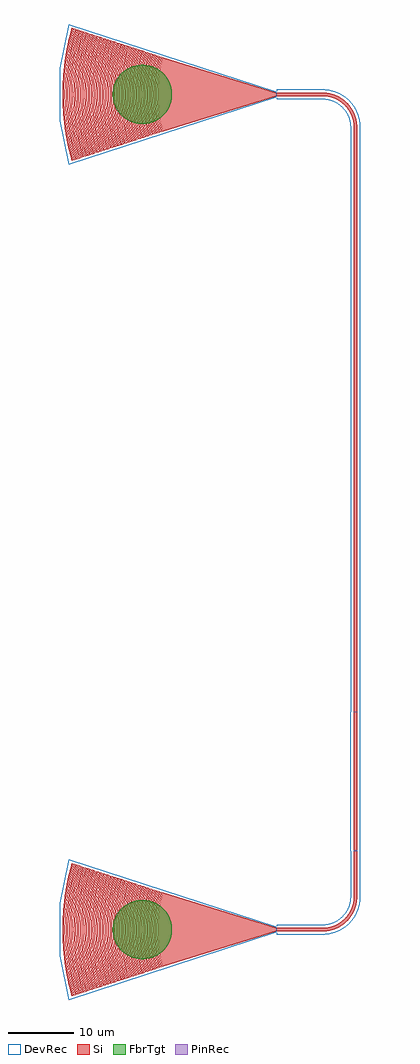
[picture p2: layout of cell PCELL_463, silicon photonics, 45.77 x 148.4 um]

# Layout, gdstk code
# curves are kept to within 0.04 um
from math import pi, radians
import gdstk
lib = gdstk.Library(unit=1e-6, precision=1e-09)
def R(c, l, rs):  # rectangles x0, y0, x1, y1
    for r in rs: c.add(gdstk.rectangle(r[:2], r[2:], *l))
def P(c, l, *ps):  # polygons
    for p in ps: c.add(gdstk.Polygon(p, *l))
Si = (1, 0)
PinRec = (1, 10)
DevRec = (68, 0)
FbrTgt = (81, 0)

te1550_subgc_neg31_oxide = lib.new_cell('TE1550_SubGC_neg31_oxide')
P(te1550_subgc_neg31_oxide, Si, [(-17.556,-5.704),(-17.743,-4.914),(-17.881,-4.233),(-18.016,-3.437),(-18.095,-2.866),(-18.165,-2.237),(-18.222,-1.549),(-18.256,-0.918),(-18.274,-0.115),(-18.264,0.689),(-18.233,1.377),(-18.176,2.122),(-18.095,2.866),(-18.016,3.437),(-17.881,4.233),(-17.743,4.914),(-17.556,5.704),(-17.481,5.68),(-17.643,5.006),(-17.784,4.329),(-17.922,3.536),(-18.032,2.74),(-18.104,2.056),(-18.148,1.486),(-18.186,0.686),(-18.196,0.114),(-18.189,-0.572),(-18.165,-1.2),(-18.123,-1.828),(-18.058,-2.512),(-17.948,-3.365),(-17.826,-4.102),(-17.668,-4.893),(-17.481,-5.68)],
  [(-17.906,-5.818),(-18.207,-4.492),(-18.452,-2.982),(-18.601,-1.405),(-18.643,-0.117),(-18.601,1.405),(-18.452,2.982),(-18.207,4.492),(-17.906,5.818),(-17.659,5.738),(-17.932,4.544),(-18.188,2.998),(-18.338,1.443),(-18.383,0.116),(-18.338,-1.443),(-18.188,-2.998),(-17.932,-4.544),(-17.659,-5.738)],
  [(-18.084,-5.876),(-18.24,-5.237),(-18.4,-4.479),(-18.525,-3.776),(-18.629,-3.071),(-18.717,-2.305),(-18.772,-1.656),(-18.811,-0.946),(-18.83,-0.118),(-18.823,0.592),(-18.791,1.36),(-18.739,2.069),(-18.644,2.953),(-18.544,3.658),(-18.4,4.479),(-18.24,5.237),(-18.084,5.876),(-18.01,5.852),(-18.204,5.041),(-18.368,4.227),(-18.503,3.409),(-18.609,2.589),(-18.713,1.354),(-18.745,0.589),(-18.752,0.118),(-18.745,-0.589),(-18.713,-1.354),(-18.609,-2.589),(-18.503,-3.409),(-18.368,-4.227),(-18.204,-5.041),(-18.01,-5.852)],
  [(-18.435,-5.99),(-18.77,-4.506),(-19.001,-3.071),(-19.135,-1.748),(-19.199,-0.121),(-19.159,1.387),(-19.001,3.071),(-18.77,4.506),(-18.435,5.99),(-18.188,5.91),(-18.517,4.445),(-18.744,3.029),(-18.896,1.427),(-18.939,0.119),(-18.896,-1.427),(-18.759,-2.911),(-18.517,-4.445),(-18.188,-5.91)],
  [(-18.613,-6.048),(-18.815,-5.211),(-18.963,-4.49),(-19.099,-3.705),(-19.201,-2.979),(-19.269,-2.373),(-19.338,-1.522),(-19.369,-0.913),(-19.386,-0.122),(-19.377,0.67),(-19.349,1.339),(-19.286,2.191),(-19.201,2.979),(-19.099,3.705),(-18.963,4.49),(-18.815,5.211),(-18.613,6.048),(-18.539,6.024),(-18.713,5.309),(-18.876,4.532),(-19.013,3.751),(-19.131,2.907),(-19.203,2.242),(-19.264,1.455),(-19.291,0.91),(-19.308,0.121),(-19.299,-0.667),(-19.271,-1.334),(-19.239,-1.819),(-19.166,-2.605),(-19.076,-3.329),(-18.91,-4.352),(-18.753,-5.13),(-18.539,-6.024)],
  [(-18.964,-6.162),(-19.262,-4.881),(-19.533,-3.283),(-19.689,-1.799),(-19.755,-0.124),(-19.717,1.365),(-19.573,2.974),(-19.334,4.513),(-18.964,6.162),(-18.717,6.081),(-19.046,4.636),(-19.301,3.057),(-19.43,1.775),(-19.495,0.122),(-19.454,-1.408),(-19.301,-3.057),(-19.046,-4.636),(-18.717,-6.081)],
  [(-19.142,-6.22),(-19.337,-5.421),(-19.48,-4.742),(-19.625,-3.936),(-19.726,-3.251),(-19.808,-2.566),(-19.884,-1.691),(-19.924,-0.94),(-19.942,-0.125),(-19.934,0.626),(-19.9,1.44),(-19.833,2.316),(-19.758,3.002),(-19.635,3.874),(-19.516,4.556),(-19.337,5.421),(-19.142,6.22),(-19.068,6.195),(-19.289,5.277),(-19.44,4.538),(-19.587,3.673),(-19.696,2.866),(-19.772,2.12),(-19.822,1.435),(-19.853,0.749),(-19.864,0.125),(-19.853,-0.749),(-19.822,-1.435),(-19.772,-2.12),(-19.696,-2.866),(-19.587,-3.673),(-19.44,-4.538),(-19.289,-5.277),(-19.068,-6.195)],
  [(-19.493,-6.334),(-19.839,-4.829),(-20.107,-3.185),(-20.256,-1.658),(-20.311,-0.128),(-20.268,1.467),(-20.107,3.185),(-19.839,4.829),(-19.493,6.334),(-19.246,6.253),(-19.574,4.829),(-19.842,3.207),(-19.997,1.637),(-20.051,0.126),(-20.005,-1.511),(-19.866,-3.019),(-19.622,-4.581),(-19.246,-6.253)],
  [(-19.671,-6.391),(-19.843,-5.697),(-20.008,-4.937),(-20.149,-4.173),(-20.283,-3.278),(-20.379,-2.444),(-20.438,-1.738),(-20.482,-0.901),(-20.498,-0.129),(-20.482,0.901),(-20.438,1.738),(-20.379,2.444),(-20.283,3.278),(-20.149,4.173),(-20.008,4.937),(-19.843,5.697),(-19.671,6.391),(-19.597,6.367),(-19.797,5.55),(-20.005,4.538),(-20.153,3.648),(-20.246,2.946),(-20.325,2.179),(-20.373,1.539),(-20.404,0.898),(-20.42,0.128),(-20.412,-0.641),(-20.384,-1.347),(-20.336,-2.051),(-20.261,-2.819),(-20.153,-3.648),(-20.017,-4.474),(-19.825,-5.424),(-19.597,-6.367)],
  [(-20.022,-6.505),(-20.392,-4.896),(-20.656,-3.272),(-20.81,-1.704),(-20.867,-0.131),(-20.81,1.704),(-20.656,3.272),(-20.392,4.896),(-20.022,6.505),(-19.774,6.425),(-20.139,4.835),(-20.382,3.36),(-20.542,1.812),(-20.607,0.129),(-20.567,-1.424),(-20.399,-3.231),(-20.139,-4.835),(-19.774,-6.425)],
  [(-20.199,-6.563),(-20.437,-5.591),(-20.599,-4.809),(-20.726,-4.089),(-20.832,-3.367),(-20.931,-2.511),(-20.992,-1.785),(-21.04,-0.86),(-21.054,-0.132),(-21.044,0.728),(-21.001,1.653),(-20.931,2.511),(-20.849,3.235),(-20.726,4.089),(-20.599,4.809),(-20.437,5.591),(-20.199,6.563),(-20.125,6.539),(-20.347,5.635),(-20.523,4.791),(-20.67,3.943),(-20.804,2.961),(-20.878,2.239),(-20.923,1.647),(-20.962,0.857),(-20.976,0.132),(-20.966,-0.725),(-20.935,-1.449),(-20.878,-2.239),(-20.804,-2.961),(-20.67,-3.943),(-20.523,-4.791),(-20.347,-5.635),(-20.125,-6.539)],
  [(-20.55,-6.677),(-20.906,-5.158),(-21.205,-3.359),(-21.355,-1.883),(-21.423,-0.135),(-21.373,1.615),(-21.205,3.359),(-20.906,5.158),(-20.55,6.677),(-20.303,6.597),(-20.705,4.833),(-20.957,3.252),(-21.105,1.728),(-21.163,0.133),(-21.105,-1.728),(-20.957,-3.252),(-20.705,-4.833),(-20.303,-6.597)],
  [(-20.728,-6.735),(-20.912,-6.004),(-21.101,-5.136),(-21.249,-4.331),(-21.372,-3.523),(-21.483,-2.577),(-21.546,-1.832),(-21.593,-0.95),(-21.61,-0.136),(-21.593,0.95),(-21.555,1.696),(-21.483,2.577),(-21.39,3.388),(-21.249,4.331),(-21.101,5.136),(-20.912,6.004),(-20.728,6.735),(-20.654,6.711),(-20.868,5.85),(-21.025,5.118),(-21.195,4.181),(-21.33,3.241),(-21.412,2.5),(-21.473,1.758),(-21.515,0.947),(-21.532,0.135),(-21.525,-0.609),(-21.497,-1.352),(-21.448,-2.095),(-21.37,-2.904),(-21.237,-3.913),(-21.077,-4.85),(-20.868,-5.85),(-20.654,-6.711)],
  [(-21.079,-6.849),(-21.432,-5.359),(-21.736,-3.583),(-21.923,-1.725),(-21.979,-0.138),(-21.923,1.725),(-21.772,3.308),(-21.473,5.155),(-21.079,6.849),(-20.832,6.769),(-21.207,5.162),(-21.47,3.608),(-21.664,1.705),(-21.719,0.136),(-21.664,-1.705),(-21.515,-3.269),(-21.207,-5.162),(-20.832,-6.769)],
  [(-21.257,-6.907),(-21.494,-5.953),(-21.655,-5.199),(-21.817,-4.304),(-21.93,-3.544),(-22.042,-2.574),(-22.105,-1.81),(-22.146,-1.044),(-22.166,-0.139),(-22.159,0.627),(-22.114,1.67),(-22.042,2.574),(-21.957,3.336),(-21.817,4.304),(-21.655,5.199),(-21.494,5.953),(-21.257,6.907),(-21.183,6.883),(-21.419,5.932),(-21.606,5.044),(-21.773,4.083),(-21.888,3.256),(-21.971,2.495),(-22.036,1.665),(-22.073,0.902),(-22.088,0.139),(-22.081,-0.624),(-22.052,-1.387),(-22.001,-2.149),(-21.905,-3.117),(-21.773,-4.083),(-21.606,-5.044),(-21.419,-5.932),(-21.183,-6.883)],
  [(-21.608,-7.021),(-21.985,-5.425),(-22.294,-3.603),(-22.482,-1.698),(-22.535,-0.142),(-22.482,1.698),(-22.294,3.603),(-21.985,5.425),(-21.608,7.021),(-21.361,6.941),(-21.761,5.224),(-22.028,3.631),(-22.218,1.749),(-22.275,0.14),(-22.227,-1.609),(-22.073,-3.283),(-21.788,-5.086),(-21.361,-6.941)],
  [(-21.786,-7.079),(-21.964,-6.381),(-22.167,-5.469),(-22.302,-4.765),(-22.469,-3.704),(-22.565,-2.923),(-22.649,-1.997),(-22.704,-0.999),(-22.722,-0.143),(-22.713,0.714),(-22.677,1.57),(-22.601,2.567),(-22.488,3.562),(-22.374,4.341),(-22.195,5.329),(-22.03,6.101),(-21.786,7.079),(-21.712,7.055),(-21.922,6.22),(-22.161,5.1),(-22.308,4.256),(-22.447,3.267),(-22.53,2.487),(-22.586,1.778),(-22.626,0.996),(-22.644,0.142),(-22.635,-0.711),(-22.595,-1.635),(-22.53,-2.487),(-22.447,-3.267),(-22.308,-4.256),(-22.161,-5.1),(-21.922,-6.22),(-21.712,-7.055)],
  [(-22.137,-7.193),(-22.54,-5.486),(-22.843,-3.692),(-23.011,-2.102),(-23.091,-0.145),(-23.045,1.595),(-22.862,3.547),(-22.54,5.486),(-22.137,7.193),(-21.89,7.112),(-22.287,5.425),(-22.596,3.579),(-22.777,1.721),(-22.831,0.143),(-22.777,-1.721),(-22.596,-3.579),(-22.287,-5.425),(-21.89,-7.112)],
  [(-22.315,-7.25),(-22.549,-6.321),(-22.736,-5.458),(-22.895,-4.592),(-23.047,-3.576),(-23.139,-2.776),(-23.218,-1.827),(-23.262,-0.951),(-23.278,-0.146),(-23.262,0.951),(-23.218,1.827),(-23.139,2.776),(-23.047,3.576),(-22.895,4.592),(-22.736,5.458),(-22.549,6.321),(-22.315,7.25),(-22.24,7.226),(-22.457,6.372),(-22.646,5.512),(-22.843,4.432),(-22.979,3.492),(-23.076,2.621),(-23.145,1.748),(-23.184,0.947),(-23.2,0.146),(-23.194,-0.583),(-23.158,-1.53),(-23.102,-2.33),(-23.006,-3.274),(-22.899,-4.071),(-22.73,-5.081),(-22.507,-6.157),(-22.24,-7.226)],
  [(-22.666,-7.364),(-23.095,-5.545),(-23.392,-3.78),(-23.581,-1.93),(-23.647,-0.149),(-23.586,1.856),(-23.421,3.559),(-23.095,5.545),(-22.666,7.364),(-22.418,7.284),(-22.842,5.484),(-23.145,3.666),(-23.311,2.056),(-23.387,0.147),(-23.336,-1.689),(-23.145,-3.666),(-22.842,-5.484),(-22.418,-7.284)],
  [(-22.843,-7.422),(-23.067,-6.545),(-23.262,-5.662),(-23.441,-4.701),(-23.556,-3.959),(-23.691,-2.842),(-23.762,-2.02),(-23.815,-1.048),(-23.834,-0.15),(-23.82,0.898),(-23.782,1.721),(-23.713,2.618),(-23.606,3.587),(-23.441,4.701),(-23.277,5.588),(-23.067,6.545),(-22.843,7.422),(-22.769,7.398),(-22.992,6.523),(-23.201,5.57),(-23.389,4.538),(-23.538,3.501),(-23.642,2.535),(-23.704,1.716),(-23.742,0.895),(-23.756,0.149),(-23.742,-0.895),(-23.704,-1.716),(-23.642,-2.535),(-23.565,-3.278),(-23.401,-4.464),(-23.23,-5.423),(-22.992,-6.523),(-22.769,-7.398)],
  [(-23.194,-7.536),(-23.605,-5.824),(-23.951,-3.793),(-24.135,-1.976),(-24.203,-0.152),(-24.15,1.748),(-23.961,3.718),(-23.605,5.824),(-23.194,7.536),(-22.947,7.456),(-23.368,5.688),(-23.684,3.827),(-23.876,1.955),(-23.943,0.15),(-23.886,-1.804),(-23.704,-3.678),(-23.383,-5.614),(-22.947,-7.456)],
  [(-23.372,-7.594),(-23.602,-6.696),(-23.802,-5.793),(-23.96,-4.962),(-24.115,-3.975),(-24.219,-3.137),(-24.316,-2.067),(-24.373,-0.996),(-24.39,-0.153),(-24.373,0.996),(-24.316,2.067),(-24.219,3.137),(-24.115,3.975),(-23.96,4.962),(-23.802,5.793),(-23.602,6.696),(-23.372,7.594),(-23.298,7.57),(-23.562,6.525),(-23.801,5.399),(-23.971,4.417),(-24.088,3.583),(-24.188,2.67),(-24.249,1.908),(-24.295,0.993),(-24.312,0.153),(-24.3,-0.84),(-24.263,-1.68),(-24.195,-2.594),(-24.088,-3.583),(-23.971,-4.417),(-23.801,-5.399),(-23.562,-6.525),(-23.298,-7.57)],
  [(-23.723,-7.708),(-24.145,-5.957),(-24.479,-4.035),(-24.678,-2.176),(-24.759,-0.156),(-24.709,1.71),(-24.5,3.88),(-24.145,5.957),(-23.723,7.708),(-23.476,7.628),(-23.908,5.819),(-24.233,3.916),(-24.43,2),(-24.499,0.154),(-24.43,-2),(-24.233,-3.916),(-23.908,-5.819),(-23.476,-7.628)],
  [(-23.901,-7.766),(-24.137,-6.848),(-24.358,-5.848),(-24.518,-4.997),(-24.674,-3.987),(-24.779,-3.13),(-24.87,-2.115),(-24.916,-1.332),(-24.946,-0.157),(-24.931,0.94),(-24.891,1.802),(-24.803,2.896),(-24.695,3.832),(-24.531,4.92),(-24.358,5.848),(-24.137,6.848),(-23.901,7.766),(-23.827,7.742),(-24.098,6.674),(-24.313,5.676),(-24.493,4.672),(-24.638,3.665),(-24.733,2.809),(-24.803,1.952),(-24.848,1.094),(-24.868,0.156),(-24.858,-0.781),(-24.818,-1.718),(-24.733,-2.809),(-24.638,-3.665),(-24.493,-4.672),(-24.313,-5.676),(-24.098,-6.674),(-23.827,-7.742)],
  [(-24.252,-7.88),(-24.717,-5.934),(-25.049,-3.967),(-25.232,-2.225),(-25.315,-0.159),(-25.259,1.828),(-25.07,3.809),(-24.717,5.934),(-24.252,7.88),(-24.005,7.8),(-24.464,5.873),(-24.782,4.005),(-24.973,2.202),(-25.055,0.157),(-25.009,-1.652),(-24.803,-3.848),(-24.464,-5.873),(-24.005,-7.8)],
  [(-24.43,-7.938),(-24.709,-6.843),(-24.866,-6.135),(-25.049,-5.187),(-25.234,-3.997),(-25.339,-3.12),(-25.424,-2.162),(-25.478,-1.202),(-25.502,-0.16),(-25.489,0.881),(-25.435,2.002),(-25.339,3.12),(-25.234,3.997),(-25.049,5.187),(-24.866,6.135),(-24.709,6.843),(-24.43,7.938),(-24.356,7.914),(-24.634,6.822),(-24.839,5.881),(-25,5.014),(-25.178,3.826),(-25.278,2.952),(-25.352,2.075),(-25.397,1.278),(-25.424,0.16),(-25.409,-0.958),(-25.377,-1.677),(-25.293,-2.792),(-25.198,-3.667),(-25.052,-4.697),(-24.839,-5.881),(-24.634,-6.822),(-24.356,-7.914)],
  [(-24.781,-8.052),(-25.241,-6.144),(-25.576,-4.216),(-25.803,-2.031),(-25.871,-0.163),(-25.803,2.031),(-25.609,3.974),(-25.274,5.984),(-24.781,8.052),(-24.533,7.971),(-24.972,6.161),(-25.308,4.253),(-25.544,2.01),(-25.611,0.161),(-25.544,-2.01),(-25.352,-3.934),(-25.021,-5.924),(-24.533,-7.971)],
  [(-24.959,-8.11),(-25.187,-7.232),(-25.423,-6.188),(-25.635,-5.057),(-25.772,-4.165),(-25.891,-3.188),(-25.984,-2.127),(-26.03,-1.31),(-26.058,-0.164),(-26.045,0.9),(-25.995,1.964),(-25.891,3.188),(-25.794,4.002),(-25.635,5.057),(-25.423,6.188),(-25.187,7.232),(-24.959,8.11),(-24.884,8.085),(-25.15,7.051),(-25.38,6.009),(-25.572,4.961),(-25.738,3.828),(-25.846,2.853),(-25.917,1.958),(-25.967,0.898),(-25.98,0.163),(-25.967,-0.898),(-25.932,-1.713),(-25.868,-2.609),(-25.768,-3.585),(-25.624,-4.638),(-25.412,-5.848),(-25.207,-6.811),(-24.884,-8.085)],
  [(-25.31,-8.224),(-25.815,-6.112),(-26.136,-4.224),(-26.357,-2.074),(-26.427,-0.166),(-26.368,1.909),(-26.18,3.894),(-25.815,6.112),(-25.31,8.224),(-25.062,8.143),(-25.512,6.295),(-25.868,4.264),(-26.098,2.054),(-26.167,0.164),(-26.123,-1.644),(-25.923,-3.856),(-25.562,-6.052),(-25.062,-8.143)],
  [(-25.487,-8.281),(-25.761,-7.222),(-25.946,-6.402),(-26.152,-5.33),(-26.321,-4.254),(-26.451,-3.173),(-26.532,-2.256),(-26.589,-1.254),(-26.614,-0.167),(-26.598,1.003),(-26.538,2.172),(-26.451,3.173),(-26.321,4.254),(-26.152,5.33),(-25.946,6.402),(-25.761,7.222),(-25.487,8.281),(-25.413,8.257),(-25.686,7.201),(-25.921,6.137),(-26.118,5.067),(-26.288,3.91),(-26.374,3.164),(-26.466,2.083),(-26.511,1.25),(-26.536,0.167),(-26.525,-0.834),(-26.482,-1.833),(-26.406,-2.831),(-26.288,-3.91),(-26.118,-5.067),(-25.921,-6.137),(-25.686,-7.201),(-25.413,-8.257)],
  [(-25.838,-8.395),(-26.339,-6.323),(-26.685,-4.312),(-26.887,-2.456),(-26.983,-0.17),(-26.917,2.033),(-26.708,4.144),(-26.356,6.24),(-25.838,8.395),(-25.591,8.315),(-26.086,6.263),(-26.44,4.188),(-26.658,2.014),(-26.723,0.168),(-26.658,-2.014),(-26.44,-4.188),(-26.086,-6.263),(-25.591,-8.315)],
  [(-26.016,-8.453),(-26.256,-7.539),(-26.503,-6.451),(-26.697,-5.441),(-26.858,-4.427),(-26.976,-3.494),(-27.086,-2.303),(-27.144,-1.28),(-27.17,-0.085),(-27.156,0.939),(-27.098,2.133),(-27.012,3.154),(-26.893,4.173),(-26.726,5.272),(-26.538,6.283),(-26.256,7.539),(-26.016,8.453),(-25.942,8.429),(-26.261,7.184),(-26.479,6.181),(-26.664,5.173),(-26.838,3.992),(-26.943,3.06),(-27.026,2.042),(-27.078,0.936),(-27.092,0.085),(-27.078,-0.936),(-27.026,-2.042),(-26.943,-3.06),(-26.838,-3.992),(-26.664,-5.173),(-26.479,-6.181),(-26.261,-7.184),(-25.942,-8.429)],
  [(-26.367,-8.567),(-26.897,-6.368),(-27.246,-4.315),(-27.466,-2.162),(-27.539,-0.087),(-27.466,2.162),(-27.246,4.315),(-26.897,6.368),(-26.367,8.567),(-26.12,8.487),(-26.644,6.308),(-26.989,4.275),(-27.218,1.97),(-27.279,0.086),(-27.218,-1.97),(-26.989,-4.275),(-26.644,-6.308),(-26.12,-8.487)],
  [(-26.545,-8.625),(-26.832,-7.522),(-27.079,-6.411),(-27.286,-5.294),(-27.442,-4.258),(-27.573,-3.132),(-27.658,-2.089),(-27.712,-0.958),(-27.726,-0.087),(-27.712,0.958),(-27.658,2.089),(-27.573,3.132),(-27.442,4.258),(-27.286,5.294),(-27.079,6.411),(-26.832,7.522),(-26.545,8.625),(-26.471,8.601),(-26.777,7.416),(-27.003,6.393),(-27.195,5.365),(-27.365,4.246),(-27.487,3.209),(-27.586,1.997),(-27.634,0.955),(-27.648,0.087),(-27.634,-0.955),(-27.586,-1.997),(-27.52,-2.863),(-27.42,-3.815),(-27.265,-4.935),(-27.071,-6.051),(-26.817,-7.246),(-26.63,-8.01),(-26.471,-8.601)],
  [(-26.896,-8.739),(-27.402,-6.67),(-27.783,-4.49),(-28.014,-2.293),(-28.095,-0.088),(-28.026,2.117),(-27.807,4.315),(-27.438,6.496),(-26.896,8.739),(-26.649,8.659),(-27.185,6.436),(-27.55,4.275),(-27.761,2.185),(-27.835,0.087),(-27.761,-2.185),(-27.55,-4.275),(-27.185,-6.436),(-26.649,-8.659)],
  [(-27.074,-8.797),(-27.346,-7.759),(-27.602,-6.627),(-27.802,-5.576),(-27.955,-4.608),(-28.098,-3.46),(-28.194,-2.397),(-28.255,-1.332),(-28.282,-0.089),(-28.265,1.066),(-28.218,2.042),(-28.134,3.106),(-28.015,4.167),(-27.832,5.4),(-27.62,6.539),(-27.346,7.759),(-27.074,8.797),(-27,8.773),(-27.292,7.651),(-27.544,6.521),(-27.77,5.297),(-27.949,4.067),(-28.048,3.186),(-28.129,2.214),(-28.184,1.152),(-28.204,0.089),(-28.187,-1.063),(-28.146,-1.948),(-28.073,-2.921),(-27.949,-4.067),(-27.77,-5.297),(-27.544,-6.521),(-27.292,-7.651),(-27,-8.773)],
  [(-27.425,-8.911),(-27.979,-6.624),(-28.344,-4.489),(-28.568,-2.339),(-28.651,-0.09),(-28.568,2.339),(-28.344,4.489),(-27.979,6.624),(-27.425,8.911),(-27.177,8.83),(-27.708,6.652),(-28.075,4.537),(-28.309,2.317),(-28.391,0.089),(-28.309,-2.317),(-28.075,-4.537),(-27.708,-6.652),(-27.177,-8.83)],
  [(-27.603,-8.969),(-27.881,-7.91),(-28.124,-6.845),(-28.347,-5.685),(-28.529,-4.518),(-28.678,-3.257),(-28.761,-2.264),(-28.814,-1.268),(-28.838,-0.091),(-28.826,0.906),(-28.761,2.264),(-28.678,3.257),(-28.529,4.518),(-28.347,5.685),(-28.124,6.845),(-27.881,7.91),(-27.603,8.969),(-27.528,8.944),(-27.806,7.889),(-28.085,6.649),(-28.316,5.402),(-28.476,4.327),(-28.582,3.428),(-28.677,2.348),(-28.736,1.265),(-28.76,0.09),(-28.748,-0.903),(-28.695,-2.077),(-28.609,-3.158),(-28.499,-4.147),(-28.331,-5.312),(-28.121,-6.472),(-27.87,-7.624),(-27.528,-8.944)],
  [(-27.953,-9.083),(-28.52,-6.752),(-28.893,-4.576),(-29.135,-2.201),(-29.207,-0.092),(-29.135,2.201),(-28.918,4.394),(-28.52,6.752),(-27.953,9.083),(-27.706,9.002),(-28.23,6.871),(-28.624,4.626),(-28.863,2.363),(-28.947,0.091),(-28.887,-2),(-28.649,-4.445),(-28.23,-6.871),(-27.706,-9.002)],
  [(-28.131,-9.14),(-28.416,-8.062),(-28.645,-7.068),(-28.86,-5.977),(-29.078,-4.605),(-29.221,-3.412),(-29.315,-2.307),(-29.373,-1.2),(-29.394,-0.092),(-29.373,1.2),(-29.315,2.307),(-29.221,3.412),(-29.078,4.605),(-28.86,5.977),(-28.645,7.068),(-28.416,8.062),(-28.131,9.14),(-28.057,9.116),(-28.363,7.951),(-28.663,6.596),(-28.892,5.323),(-29.061,4.136),(-29.179,3.036),(-29.255,2.025),(-29.301,1.013),(-29.316,0.092),(-29.301,-1.013),(-29.255,-2.025),(-29.179,-3.036),(-29.061,-4.136),(-28.892,-5.323),(-28.663,-6.596),(-28.363,-7.951),(-28.057,-9.116)],
  [(-28.482,-9.254),(-29.003,-7.156),(-29.416,-4.849),(-29.683,-2.336),(-29.763,-0.094),(-29.683,2.336),(-29.455,4.57),(-29.042,6.972),(-28.482,9.254),(-28.235,9.174),(-28.77,7.003),(-29.173,4.714),(-29.424,2.316),(-29.503,0.093),(-29.424,-2.316),(-29.173,-4.714),(-28.77,-7.003),(-28.235,-9.174)],
  [(-28.66,-9.312),(-28.928,-8.306),(-29.224,-7.016),(-29.421,-5.996),(-29.601,-4.879),(-29.733,-3.851),(-29.863,-2.445),(-29.925,-1.317),(-29.95,-0.094),(-29.937,0.941),(-29.882,2.163),(-29.792,3.289),(-29.64,4.599),(-29.437,5.904),(-29.224,7.016),(-28.928,8.306),(-28.66,9.312),(-28.586,9.288),(-28.898,8.101),(-29.148,6.998),(-29.393,5.703),(-29.563,4.587),(-29.696,3.467),(-29.798,2.251),(-29.847,1.314),(-29.872,0.094),(-29.862,-0.845),(-29.798,-2.251),(-29.696,-3.467),(-29.563,-4.587),(-29.393,-5.703),(-29.148,-6.998),(-28.898,-8.101),(-28.586,-9.288)],
  [(-29.011,-9.426),(-29.563,-7.196),(-29.965,-4.939),(-30.237,-2.38),(-30.319,-0.095),(-30.25,2.19),(-30.017,4.561),(-29.602,7.008),(-29.011,9.426),(-28.764,9.346),(-29.33,7.041),(-29.735,4.709),(-29.978,2.359),(-30.059,0.094),(-29.978,-2.359),(-29.735,-4.709),(-29.33,-7.041),(-28.764,-9.346)],
  [(-29.189,-9.484),(-29.554,-8.085),(-29.784,-7.052),(-29.999,-5.918),(-30.163,-4.874),(-30.295,-3.827),(-30.417,-2.49),(-30.484,-1.246),(-30.506,-0.096),(-30.484,1.246),(-30.417,2.49),(-30.295,3.827),(-30.163,4.874),(-29.999,5.918),(-29.784,7.052),(-29.554,8.085),(-29.189,9.484),(-29.115,9.46),(-29.456,8.158),(-29.708,7.034),(-29.97,5.62),(-30.125,4.577),(-30.248,3.532),(-30.346,2.388),(-30.406,1.242),(-30.428,0.096),(-30.406,-1.242),(-30.346,-2.388),(-30.248,-3.532),(-30.125,-4.577),(-29.97,-5.62),(-29.708,-7.034),(-29.456,-8.158),(-29.115,-9.46)],
  [(-29.54,-9.598),(-30.143,-7.137),(-30.554,-4.741),(-30.798,-2.327),(-30.875,-0.097),(-30.798,2.327),(-30.554,4.741),(-30.143,7.137),(-29.54,9.598),(-29.293,9.518),(-29.89,7.077),(-30.284,4.796),(-30.539,2.307),(-30.615,0.096),(-30.539,-2.307),(-30.284,-4.796),(-29.89,-7.077),(-29.293,-9.518)],
  [(-29.718,-9.656),(-29.997,-8.613),(-30.285,-7.371),(-30.493,-6.315),(-30.712,-4.963),(-30.857,-3.8),(-30.964,-2.633),(-31.036,-1.366),(-31.062,-0.098),(-31.046,1.073),(-30.991,2.243),(-30.897,3.411),(-30.752,4.673),(-30.561,5.929),(-30.345,7.084),(-30.044,8.422),(-29.718,9.656),(-29.643,9.632),(-29.969,8.401),(-30.269,7.066),(-30.501,5.818),(-30.7,4.468),(-30.829,3.306),(-30.907,2.335),(-30.965,1.168),(-30.984,0.097),(-30.965,-1.168),(-30.907,-2.335),(-30.829,-3.306),(-30.7,-4.468),(-30.501,-5.818),(-30.269,-7.066),(-29.969,-8.401),(-29.643,-9.632)],
  [(-30.069,-9.77),(-30.664,-7.362),(-31.09,-4.924),(-31.346,-2.467),(-31.431,-0.099),(-31.346,2.467),(-31.09,4.924),(-30.664,7.362),(-30.069,9.77),(-29.821,9.69),(-30.411,7.301),(-30.833,4.883),(-31.093,2.349),(-31.171,0.098),(-31.093,-2.349),(-30.833,-4.883),(-30.411,-7.301),(-29.821,-9.69)],
  [(-30.246,-9.828),(-30.603,-8.475),(-30.866,-7.308),(-31.107,-6.035),(-31.288,-4.855),(-31.43,-3.67),(-31.539,-2.382),(-31.595,-1.291),(-31.618,-0.099),(-31.595,1.291),(-31.539,2.382),(-31.43,3.67),(-31.288,4.855),(-31.107,6.035),(-30.866,7.308),(-30.603,8.475),(-30.246,9.828),(-30.172,9.804),(-30.528,8.455),(-30.77,7.387),(-30.907,6.705),(-31.047,5.922),(-31.211,4.843),(-31.342,3.759),(-31.461,2.377),(-31.517,1.288),(-31.54,0.099),(-31.529,-0.892),(-31.474,-2.179),(-31.391,-3.266),(-31.25,-4.548),(-31.047,-5.922),(-30.83,-7.095),(-30.528,-8.455),(-30.172,-9.804)],
  [(-30.597,-9.942),(-31.225,-7.393),(-31.625,-5.111),(-31.893,-2.611),(-31.987,-0.1),(-31.907,2.41),(-31.653,4.911),(-31.225,7.393),(-30.597,9.942),(-30.35,9.861),(-30.931,7.529),(-31.396,4.872),(-31.641,2.49),(-31.727,0.1),(-31.641,-2.49),(-31.396,-4.872),(-30.931,-7.529),(-30.35,-9.861)],
  [(-30.775,-9.999),(-31.09,-8.821),(-31.344,-7.734),(-31.564,-6.64),(-31.795,-5.241),(-31.95,-4.036),(-32.072,-2.727),(-32.129,-1.819),(-32.154,-1.213),(-32.174,-0.101),(-32.154,1.213),(-32.1,2.323),(-32.012,3.432),(-31.851,4.84),(-31.686,5.941),(-31.428,7.337),(-31.139,8.624),(-30.775,9.999),(-30.701,9.975),(-31.015,8.8),(-31.18,8.11),(-31.352,7.319),(-31.593,6.027),(-31.774,4.828),(-31.915,3.625),(-32.009,2.519),(-32.069,1.411),(-32.096,0.101),(-32.076,-1.21),(-32.009,-2.519),(-31.915,-3.625),(-31.774,-4.828),(-31.593,-6.027),(-31.352,-7.319),(-31.18,-8.11),(-31.015,-8.8),(-30.701,-9.975)],
  [(-31.126,-10.114),(-31.724,-7.722),(-32.174,-5.199),(-32.447,-2.656),(-32.543,-0.102),(-32.519,1.329),(-32.447,2.656),(-32.174,5.199),(-31.724,7.722),(-31.126,10.114),(-30.879,10.033),(-31.471,7.66),(-31.917,5.158),(-32.188,2.635),(-32.283,0.101),(-32.202,-2.433),(-31.959,-4.856),(-31.534,-7.361),(-31.244,-8.653),(-30.879,-10.033)],
  [(-17.378,-5.646),(-17.678,-4.303),(-17.903,-2.893),(-18.043,-1.42),(-18.087,-0.114),(-18.05,1.306),(-17.924,2.724),(-17.678,4.303),(-17.378,5.646),(0,0.25),(0,-0.25)])
te1550_subgc_neg31_oxide.add(gdstk.Label('Ref: Yun Wang, Optics Express, 08/2014', (-33,0), layer=10, texttype=0))
te1550_subgc_neg31_oxide.add(gdstk.Label('http://dx.doi.org/10.1364/OE.22.020652', (-33,-2), layer=10, texttype=0))
te1550_subgc_neg31_oxide.add(gdstk.Label('TE 1550 -31 deg', (-33,2), layer=10, texttype=0))

ebeam_gc_te1550 = lib.new_cell('ebeam_gc_te1550')
R(ebeam_gc_te1550, Si, [(-0.001,-0.001,0.001,0.001)])
P(ebeam_gc_te1550, DevRec, [(-31.6,-10.7),(-33,-4),(-33,4),(-31.6,10.7),(0,0.4),(0,-0.4)])
P(ebeam_gc_te1550, FbrTgt, [(-20.621,-4.5),(-21.495,-4.37),(-22.326,-4.073),(-23.084,-3.619),(-23.738,-3.026),(-24.264,-2.316),(-24.642,-1.518),(-24.857,-0.661),(-24.9,0.221),(-24.77,1.095),(-24.473,1.926),(-24.019,2.684),(-23.426,3.338),(-22.716,3.864),(-21.918,4.242),(-21.061,4.457),(-20.179,4.5),(-19.305,4.37),(-18.474,4.073),(-17.716,3.619),(-17.062,3.026),(-16.536,2.316),(-16.158,1.518),(-15.943,0.661),(-15.9,-0.221),(-16.03,-1.095),(-16.327,-1.926),(-16.781,-2.684),(-17.374,-3.338),(-18.084,-3.864),(-18.882,-4.242),(-19.739,-4.457)])
ebeam_gc_te1550.add(gdstk.FlexPath([(-0.05,0),(0.05,0)], 0.5, ends="flush", simple_path=True, layer=1, datatype=10))  # PinRec
ebeam_gc_te1550.add(gdstk.Reference(te1550_subgc_neg31_oxide, (0,0)))
ebeam_gc_te1550.add(gdstk.Label('Component=ebeam_gc_te1550', (-28,-5), layer=68, texttype=0))
ebeam_gc_te1550.add(gdstk.Label('Lumerical_INTERCONNECT_library=Design kits/ebeam', (-29,-7), layer=68, texttype=0))
ebeam_gc_te1550.add(gdstk.Label('opt1', (0,0), layer=1, texttype=10))
ebeam_gc_te1550.add(gdstk.Label('fib1', (-20.4,0), layer=1, texttype=10))

grat_1_318 = lib.new_cell('grat_1_318')
P(grat_1_318, Si, [(1.159,-0.265),(1.159,-0.235),(1,-0.235),(1,-0.25),(0,-0.25),(0,0),(0,0.25),(1,0.25),(1,0.235),(1.159,0.235),(1.159,0.265),(1.318,0.265),(1.318,0.235),(1.477,0.235),(1.477,0.265),(1.636,0.265),(1.636,0.235),(1.795,0.235),(1.795,0.265),(1.954,0.265),(1.954,0.235),(2.113,0.235),(2.113,0.265),(2.272,0.265),(2.272,0.235),(2.431,0.235),(2.431,0.265),(2.59,0.265),(2.59,0.235),(2.749,0.235),(2.749,0.265),(2.908,0.265),(2.908,0.235),(3.067,0.235),(3.067,0.265),(3.226,0.265),(3.226,0.235),(3.385,0.235),(3.385,0.265),(3.544,0.265),(3.544,0.235),(3.703,0.235),(3.703,0.265),(3.862,0.265),(3.862,0.235),(4.021,0.235),(4.021,0.265),(4.18,0.265),(4.18,0.235),(4.339,0.235),(4.339,0.265),(4.498,0.265),(4.498,0.235),(4.657,0.235),(4.657,0.265),(4.816,0.265),(4.816,0.235),(4.975,0.235),(4.975,0.265),(5.134,0.265),(5.134,0.235),(5.293,0.235),(5.293,0.265),(5.452,0.265),(5.452,0.235),(5.611,0.235),(5.611,0.265),(5.77,0.265),(5.77,0.235),(5.929,0.235),(5.929,0.265),(6.088,0.265),(6.088,0.235),(6.247,0.235),(6.247,0.265),(6.406,0.265),(6.406,0.235),(6.565,0.235),(6.565,0.265),(6.724,0.265),(6.724,0.235),(6.883,0.235),(6.883,0.265),(7.042,0.265),(7.042,0.235),(7.201,0.235),(7.201,0.265),(7.36,0.265),(7.36,0.235),(7.519,0.235),(7.519,0.265),(7.678,0.265),(7.678,0.235),(7.837,0.235),(7.837,0.265),(7.996,0.265),(7.996,0.235),(8.155,0.235),(8.155,0.265),(8.314,0.265),(8.314,0.235),(8.473,0.235),(8.473,0.265),(8.632,0.265),(8.632,0.235),(8.791,0.235),(8.791,0.265),(8.95,0.265),(8.95,0.235),(9.109,0.235),(9.109,0.265),(9.268,0.265),(9.268,0.235),(9.427,0.235),(9.427,0.265),(9.586,0.265),(9.586,0.235),(9.745,0.235),(9.745,0.265),(9.904,0.265),(9.904,0.235),(10.063,0.235),(10.063,0.265),(10.222,0.265),(10.222,0.235),(10.381,0.235),(10.381,0.265),(10.54,0.265),(10.54,0.235),(10.699,0.235),(10.699,0.265),(10.858,0.265),(10.858,0.235),(11.017,0.235),(11.017,0.265),(11.176,0.265),(11.176,0.235),(11.335,0.235),(11.335,0.265),(11.494,0.265),(11.494,0.235),(11.653,0.235),(11.653,0.265),(11.812,0.265),(11.812,0.235),(11.971,0.235),(11.971,0.265),(12.13,0.265),(12.13,0.235),(12.289,0.235),(12.289,0.265),(12.448,0.265),(12.448,0.235),(12.607,0.235),(12.607,0.265),(12.766,0.265),(12.766,0.235),(12.925,0.235),(12.925,0.265),(13.084,0.265),(13.084,0.235),(13.243,0.235),(13.243,0.265),(13.402,0.265),(13.402,0.235),(13.561,0.235),(13.561,0.265),(13.72,0.265),(13.72,0.235),(13.879,0.235),(13.879,0.265),(14.038,0.265),(14.038,0.235),(14.197,0.235),(14.197,0.265),(14.356,0.265),(14.356,0.235),(14.515,0.235),(14.515,0.265),(14.674,0.265),(14.674,0.235),(14.833,0.235),(14.833,0.265),(14.992,0.265),(14.992,0.235),(15.151,0.235),(15.151,0.265),(15.31,0.265),(15.31,0.235),(15.469,0.235),(15.469,0.265),(15.628,0.265),(15.628,0.235),(15.787,0.235),(15.787,0.265),(15.946,0.265),(15.946,0.235),(16.105,0.235),(16.105,0.265),(16.264,0.265),(16.264,0.235),(16.423,0.235),(16.423,0.265),(16.582,0.265),(16.582,0.235),(16.741,0.235),(16.741,0.265),(16.9,0.265),(16.9,0.235),(17.059,0.235),(17.059,0.265),(17.218,0.265),(17.218,0.235),(17.377,0.235),(17.377,0.265),(17.536,0.265),(17.536,0.235),(17.695,0.235),(17.695,0.265),(17.854,0.265),(17.854,0.235),(18.013,0.235),(18.013,0.265),(18.172,0.265),(18.172,0.235),(18.331,0.235),(18.331,0.265),(18.49,0.265),(18.49,0.235),(18.649,0.235),(18.649,0.265),(18.808,0.265),(18.808,0.235),(18.967,0.235),(18.967,0.265),(19.126,0.265),(19.126,0.235),(19.285,0.235),(19.285,0.265),(19.444,0.265),(19.444,0.235),(19.603,0.235),(19.603,0.265),(19.762,0.265),(19.762,0.235),(19.921,0.235),(19.921,0.265),(20.08,0.265),(20.08,0.25),(21.08,0.25),(21.08,0),(21.08,-0.25),(20.08,-0.25),(20.08,-0.265),(19.921,-0.265),(19.921,-0.235),(19.762,-0.235),(19.762,-0.265),(19.603,-0.265),(19.603,-0.235),(19.444,-0.235),(19.444,-0.265),(19.285,-0.265),(19.285,-0.235),(19.126,-0.235),(19.126,-0.265),(18.967,-0.265),(18.967,-0.235),(18.808,-0.235),(18.808,-0.265),(18.649,-0.265),(18.649,-0.235),(18.49,-0.235),(18.49,-0.265),(18.331,-0.265),(18.331,-0.235),(18.172,-0.235),(18.172,-0.265),(18.013,-0.265),(18.013,-0.235),(17.854,-0.235),(17.854,-0.265),(17.695,-0.265),(17.695,-0.235),(17.536,-0.235),(17.536,-0.265),(17.377,-0.265),(17.377,-0.235),(17.218,-0.235),(17.218,-0.265),(17.059,-0.265),(17.059,-0.235),(16.9,-0.235),(16.9,-0.265),(16.741,-0.265),(16.741,-0.235),(16.582,-0.235),(16.582,-0.265),(16.423,-0.265),(16.423,-0.235),(16.264,-0.235),(16.264,-0.265),(16.105,-0.265),(16.105,-0.235),(15.946,-0.235),(15.946,-0.265),(15.787,-0.265),(15.787,-0.235),(15.628,-0.235),(15.628,-0.265),(15.469,-0.265),(15.469,-0.235),(15.31,-0.235),(15.31,-0.265),(15.151,-0.265),(15.151,-0.235),(14.992,-0.235),(14.992,-0.265),(14.833,-0.265),(14.833,-0.235),(14.674,-0.235),(14.674,-0.265),(14.515,-0.265),(14.515,-0.235),(14.356,-0.235),(14.356,-0.265),(14.197,-0.265),(14.197,-0.235),(14.038,-0.235),(14.038,-0.265),(13.879,-0.265),(13.879,-0.235),(13.72,-0.235),(13.72,-0.265),(13.561,-0.265),(13.561,-0.235),(13.402,-0.235),(13.402,-0.265),(13.243,-0.265),(13.243,-0.235),(13.084,-0.235),(13.084,-0.265),(12.925,-0.265),(12.925,-0.235),(12.766,-0.235),(12.766,-0.265),(12.607,-0.265),(12.607,-0.235),(12.448,-0.235),(12.448,-0.265),(12.289,-0.265),(12.289,-0.235),(12.13,-0.235),(12.13,-0.265),(11.971,-0.265),(11.971,-0.235),(11.812,-0.235),(11.812,-0.265),(11.653,-0.265),(11.653,-0.235),(11.494,-0.235),(11.494,-0.265),(11.335,-0.265),(11.335,-0.235),(11.176,-0.235),(11.176,-0.265),(11.017,-0.265),(11.017,-0.235),(10.858,-0.235),(10.858,-0.265),(10.699,-0.265),(10.699,-0.235),(10.54,-0.235),(10.54,-0.265),(10.381,-0.265),(10.381,-0.235),(10.222,-0.235),(10.222,-0.265),(10.063,-0.265),(10.063,-0.235),(9.904,-0.235),(9.904,-0.265),(9.745,-0.265),(9.745,-0.235),(9.586,-0.235),(9.586,-0.265),(9.427,-0.265),(9.427,-0.235),(9.268,-0.235),(9.268,-0.265),(9.109,-0.265),(9.109,-0.235),(8.95,-0.235),(8.95,-0.265),(8.791,-0.265),(8.791,-0.235),(8.632,-0.235),(8.632,-0.265),(8.473,-0.265),(8.473,-0.235),(8.314,-0.235),(8.314,-0.265),(8.155,-0.265),(8.155,-0.235),(7.996,-0.235),(7.996,-0.265),(7.837,-0.265),(7.837,-0.235),(7.678,-0.235),(7.678,-0.265),(7.519,-0.265),(7.519,-0.235),(7.36,-0.235),(7.36,-0.265),(7.201,-0.265),(7.201,-0.235),(7.042,-0.235),(7.042,-0.265),(6.883,-0.265),(6.883,-0.235),(6.724,-0.235),(6.724,-0.265),(6.565,-0.265),(6.565,-0.235),(6.406,-0.235),(6.406,-0.265),(6.247,-0.265),(6.247,-0.235),(6.088,-0.235),(6.088,-0.265),(5.929,-0.265),(5.929,-0.235),(5.77,-0.235),(5.77,-0.265),(5.611,-0.265),(5.611,-0.235),(5.452,-0.235),(5.452,-0.265),(5.293,-0.265),(5.293,-0.235),(5.134,-0.235),(5.134,-0.265),(4.975,-0.265),(4.975,-0.235),(4.816,-0.235),(4.816,-0.265),(4.657,-0.265),(4.657,-0.235),(4.498,-0.235),(4.498,-0.265),(4.339,-0.265),(4.339,-0.235),(4.18,-0.235),(4.18,-0.265),(4.021,-0.265),(4.021,-0.235),(3.862,-0.235),(3.862,-0.265),(3.703,-0.265),(3.703,-0.235),(3.544,-0.235),(3.544,-0.265),(3.385,-0.265),(3.385,-0.235),(3.226,-0.235),(3.226,-0.265),(3.067,-0.265),(3.067,-0.235),(2.908,-0.235),(2.908,-0.265),(2.749,-0.265),(2.749,-0.235),(2.59,-0.235),(2.59,-0.265),(2.431,-0.265),(2.431,-0.235),(2.272,-0.235),(2.272,-0.265),(2.113,-0.265),(2.113,-0.235),(1.954,-0.235),(1.954,-0.265),(1.795,-0.265),(1.795,-0.235),(1.636,-0.235),(1.636,-0.265),(1.477,-0.265),(1.477,-0.235),(1.318,-0.235),(1.318,-0.265)])
R(grat_1_318, DevRec, [(0,-0.765,21.08,0.765)])
grat_1_318.add(gdstk.FlexPath([(0.05,0),(-0.05,0)], 0.5, ends="flush", simple_path=True, layer=1, datatype=10))  # PinRec
grat_1_318.add(gdstk.FlexPath([(21.03,0),(21.13,0)], 0.5, ends="flush", simple_path=True, layer=1, datatype=10))  # PinRec
grat_1_318.add(gdstk.Label('pin1', (0,0), layer=1, texttype=10))
grat_1_318.add(gdstk.Label('pin2', (21.08,0), layer=1, texttype=10))

pcell_463_fgc_1_to_grat = lib.new_cell('PCELL_463_fgc_1_to_grat')
P(pcell_463_fgc_1_to_grat, Si, [(0,-0.25),(0,0.25),(6.999,0.25),(7.897,0.335),(8.53,0.503),(9.207,0.794),(9.832,1.186),(10.33,1.612),(10.814,2.168),(11.167,2.72),(11.47,3.393),(11.665,4.103),(11.75,5.001),(11.75,12),(12.25,12),(12.25,4.999),(12.2,4.277),(12.026,3.481),(11.73,2.722),(11.269,1.944),(10.744,1.32),(10.13,0.785),(9.44,0.351),(8.605,0.001),(7.812,-0.187),(7.001,-0.25)])
P(pcell_463_fgc_1_to_grat, DevRec, [(0,-0.75),(0,0.75),(7.512,0.781),(8.159,0.911),(8.844,1.171),(9.414,1.502),(9.979,1.969),(10.412,2.466),(10.797,3.09),(11.068,3.771),(11.21,4.415),(11.25,12),(12.75,12),(12.75,4.997),(12.681,4.11),(12.475,3.242),(12.137,2.416),(11.675,1.652),(11.101,0.969),(10.428,0.383),(9.584,-0.137),(8.758,-0.475),(7.89,-0.681),(7.003,-0.75)])
pcell_463_fgc_1_to_grat.add(gdstk.FlexPath([(0.05,0),(-0.05,0)], 0.5, ends="flush", simple_path=True, layer=1, datatype=10))  # PinRec
pcell_463_fgc_1_to_grat.add(gdstk.FlexPath([(12,11.95),(12,12.05)], 0.5, ends="flush", simple_path=True, layer=1, datatype=10))  # PinRec
pcell_463_fgc_1_to_grat.add(gdstk.Label('pin1', (0,0), layer=1, texttype=10))
pcell_463_fgc_1_to_grat.add(gdstk.Label('pin2', (12,12), layer=1, texttype=10))

pcell_463_fgc_2_to_grat = lib.new_cell('PCELL_463_fgc_2_to_grat')
P(pcell_463_fgc_2_to_grat, Si, [(11.75,33.08),(11.75,121.999),(11.705,122.654),(11.381,123.837),(11.086,124.422),(10.714,124.962),(9.832,125.814),(8.761,126.412),(8.057,126.631),(7.246,126.744),(0,126.75),(0,127.25),(7.181,127.247),(7.991,127.156),(8.862,126.909),(9.52,126.606),(10.13,126.215),(10.68,125.744),(11.161,125.202),(11.562,124.599),(11.842,124.03),(12.075,123.344),(12.212,122.633),(12.25,33.08)])
P(pcell_463_fgc_2_to_grat, DevRec, [(11.25,33.08),(11.219,122.512),(10.947,123.575),(10.412,124.534),(9.707,125.277),(8.778,125.86),(8.017,126.126),(7.22,126.244),(0,126.25),(0,127.75),(7.198,127.747),(8.183,127.627),(9.131,127.34),(9.76,127.045),(10.428,126.617),(11.031,126.101),(11.557,125.507),(11.996,124.846),(12.303,124.223),(12.558,123.472),(12.708,122.693),(12.75,122.003),(12.75,33.08)])
pcell_463_fgc_2_to_grat.add(gdstk.FlexPath([(0.05,127),(-0.05,127)], 0.5, ends="flush", simple_path=True, layer=1, datatype=10))  # PinRec
pcell_463_fgc_2_to_grat.add(gdstk.FlexPath([(12,33.13),(12,33.03)], 0.5, ends="flush", simple_path=True, layer=1, datatype=10))  # PinRec
pcell_463_fgc_2_to_grat.add(gdstk.Label('pin1', (0,127), layer=1, texttype=10))
pcell_463_fgc_2_to_grat.add(gdstk.Label('pin2', (12,33.08), layer=1, texttype=10))

pcell_463 = lib.new_cell('PCELL_463')
pcell_463.add(gdstk.Reference(ebeam_gc_te1550, (0,0)))
pcell_463.add(gdstk.Reference(ebeam_gc_te1550, (0,127)))
pcell_463.add(gdstk.Reference(grat_1_318, (12,12), rotation=pi/2))
pcell_463.add(gdstk.Reference(pcell_463_fgc_1_to_grat, (0,0)))
pcell_463.add(gdstk.Reference(pcell_463_fgc_2_to_grat, (0,0)))

lib.write_gds('PCELL_463.gds')
